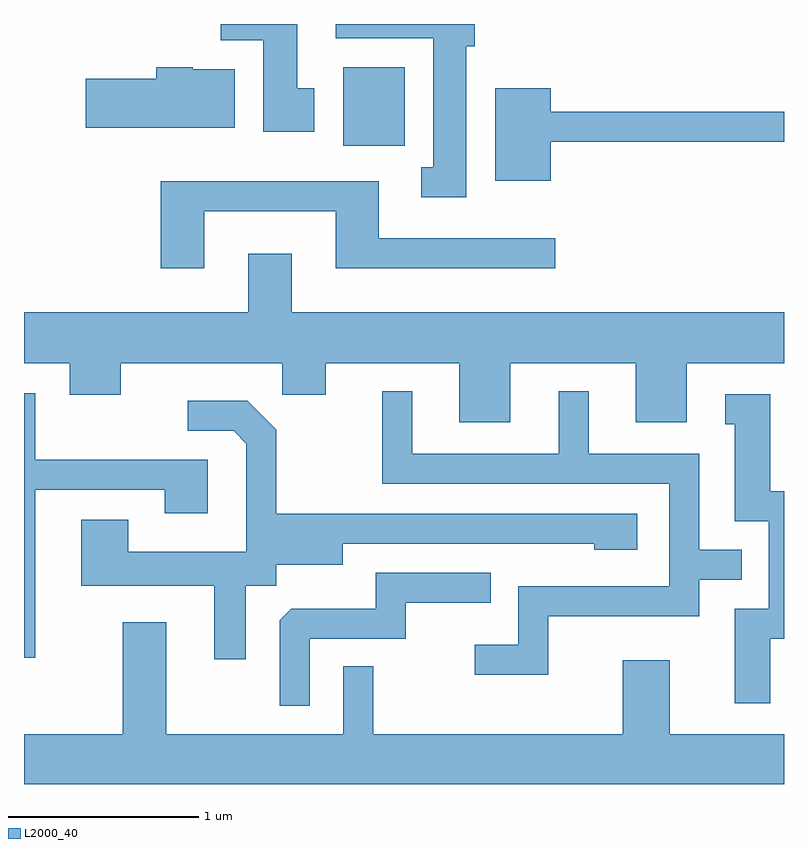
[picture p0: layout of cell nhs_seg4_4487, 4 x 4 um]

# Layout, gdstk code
import gdstk
lib = gdstk.Library(unit=1e-6, precision=1e-09)
def R(c, l, rs):  # rectangles x0, y0, x1, y1
    for r in rs: c.add(gdstk.rectangle(r[:2], r[2:], *l))
def P(c, l, *ps):  # polygons
    for p in ps: c.add(gdstk.Polygon(p, *l))
L2000_40 = (2000, 40)

nhs_seg4_4487 = lib.new_cell('nhs_seg4_4487')
R(nhs_seg4_4487, L2000_40, [(317.291,1391.341,317.614,1391.754)])
P(nhs_seg4_4487, L2000_40, [(317.139,1391.644),(317.049,1391.644),(317.049,1391.982),(316.646,1391.982),(316.646,1391.896),(316.871,1391.896),(316.871,1391.416),(317.139,1391.416)],
  [(317.939,1391.866),(317.984,1391.866),(317.984,1391.982),(317.251,1391.982),(317.251,1391.906),(317.766,1391.906),(317.766,1391.229),(317.703,1391.229),(317.703,1391.071),(317.939,1391.071)],
  [(316.719,1391.744),(316.5,1391.744),(316.5,1391.754),(316.306,1391.754),(316.306,1391.694),(315.936,1391.694),(315.936,1391.436),(316.719,1391.436)],
  [(318.384,1391.361),(319.611,1391.361),(319.611,1391.519),(318.384,1391.519),(318.384,1391.644),(318.091,1391.644),(318.091,1391.156),(318.384,1391.156)],
  [(316.559,1390.996),(317.251,1390.996),(317.251,1390.696),(318.408,1390.696),(318.408,1390.854),(317.479,1390.854),(317.479,1391.154),(316.331,1391.154),(316.331,1390.696),(316.559,1390.696)],
  [(318.169,1390.196),(318.831,1390.196),(318.831,1389.886),(319.099,1389.886),(319.099,1390.196),(319.611,1390.196),(319.611,1390.464),(317.019,1390.464),(317.019,1390.774),(316.791,1390.774),(316.791,1390.464),(315.611,1390.464),(315.611,1390.196),(315.851,1390.196),(315.851,1390.031),(316.119,1390.031),(316.119,1390.196),(316.971,1390.196),(316.971,1390.031),(317.199,1390.031),(317.199,1390.196),(317.901,1390.196),(317.901,1389.886),(318.169,1389.886)],
  [(318.369,1388.866),(319.164,1388.866),(319.164,1389.056),(319.388,1389.056),(319.388,1389.214),(319.164,1389.214),(319.164,1389.719),(318.584,1389.719),(318.584,1390.048),(318.426,1390.048),(318.426,1389.719),(317.654,1389.719),(317.654,1390.048),(317.496,1390.048),(317.496,1389.561),(319.006,1389.561),(319.006,1389.024),(318.211,1389.024),(318.211,1388.714),(317.983,1388.714),(317.983,1388.556),(318.369,1388.556)],
  [(315.669,1389.531),(316.351,1389.531),(316.351,1389.406),(316.579,1389.406),(316.579,1389.689),(315.669,1389.689),(315.669,1390.039),(315.611,1390.039),(315.611,1388.646),(315.669,1388.646)],
  [(319.539,1388.746),(319.611,1388.746),(319.611,1389.524),(319.539,1389.524),(319.539,1390.034),(319.303,1390.034),(319.303,1389.876),(319.351,1389.876),(319.351,1389.366),(319.531,1389.366),(319.531,1388.904),(319.351,1388.904),(319.351,1388.406),(319.539,1388.406)],
  [(316.779,1389.026),(316.939,1389.026),(316.939,1389.136),(317.289,1389.136),(317.289,1389.246),(318.611,1389.246),(318.611,1389.216),(318.839,1389.216),(318.839,1389.404),(316.939,1389.404),(316.939,1389.847),(316.787,1389.999),(316.473,1389.999),(316.473,1389.841),(316.714,1389.841),(316.781,1389.774),(316.781,1389.204),(316.159,1389.204),(316.159,1389.374),(315.911,1389.374),(315.911,1389.026),(316.611,1389.026),(316.611,1388.638),(316.779,1388.638)],
  [(317.114,1388.746),(317.619,1388.746),(317.619,1388.936),(318.068,1388.936),(318.068,1389.094),(317.461,1389.094),(317.461,1388.904),(317.017,1388.904),(316.956,1388.844),(316.956,1388.393),(317.114,1388.393)],
  [(315.611,1387.982),(319.611,1387.982),(319.611,1388.244),(319.009,1388.244),(319.009,1388.634),(318.761,1388.634),(318.761,1388.244),(317.449,1388.244),(317.449,1388.603),(317.291,1388.603),(317.291,1388.244),(316.359,1388.244),(316.359,1388.834),(316.131,1388.834),(316.131,1388.244),(315.611,1388.244)])

lib.write_gds('nhs_seg4_4487.gds')
